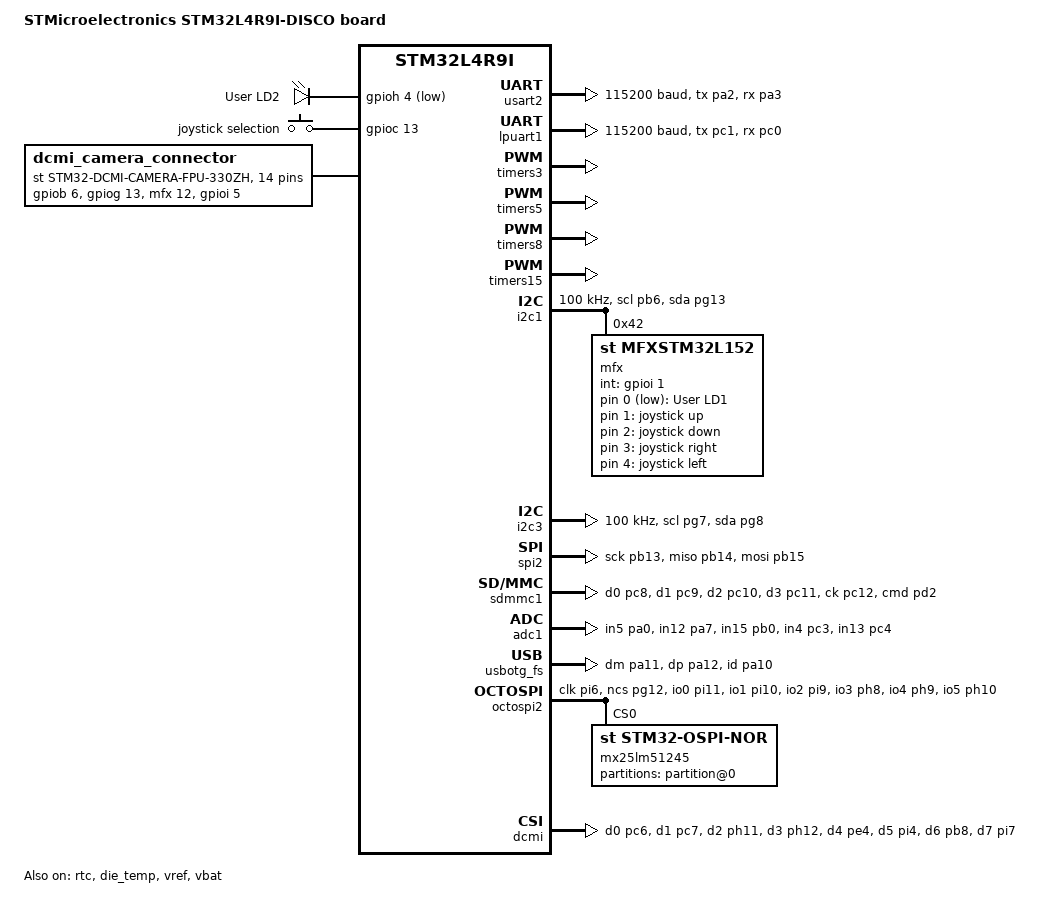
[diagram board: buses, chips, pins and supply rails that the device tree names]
/*
 * Copyright (c) 2023 STMicroelectronics
 *
 * SPDX-License-Identifier: Apache-2.0
 */
/dts-v1/;
#include <st/l4/stm32l4r9Xi.dtsi>
#include <st/l4/stm32l4r9a(g-i)ix-pinctrl.dtsi>
#include <zephyr/dt-bindings/input/input-event-codes.h>
#include "arduino_r3_connector.dtsi"

/ {
	model = "STMicroelectronics STM32L4R9I-DISCO board";
	compatible = "st,stm32l4r9i-disco";

	chosen {
		zephyr,console = &usart2;
		zephyr,shell-uart = &usart2;
		zephyr,sram = &sram0;
		zephyr,flash = &flash0;
	};

	leds {
		compatible = "gpio-leds";

		orange_led: led_1 {
			gpios = <&mfx 0 GPIO_ACTIVE_LOW>;
			label = "User LD1";
		};

		green_led: led_2 {
			gpios = <&gpioh 4 GPIO_ACTIVE_LOW>;
			label = "User LD2";
		};
	};

	gpio_keys {
		compatible = "gpio-keys";

		joy_sel: joystick_selection {
			label = "joystick selection";
			gpios = <&gpioc 13 (GPIO_ACTIVE_HIGH | GPIO_PULL_DOWN)>;
			zephyr,code = <INPUT_KEY_ENTER>;
		};

		joy_up: joystick_up {
			label = "joystick up";
			gpios = <&mfx 1 (GPIO_ACTIVE_HIGH | GPIO_PULL_UP)>;
			zephyr,code = <INPUT_KEY_UP>;
		};

		joy_down: joystick_down {
			label = "joystick down";
			gpios = <&mfx 2 (GPIO_ACTIVE_HIGH | GPIO_PULL_UP)>;
			zephyr,code = <INPUT_KEY_DOWN>;
		};

		joy_right: joystick_right {
			label = "joystick right";
			gpios = <&mfx 3 (GPIO_ACTIVE_HIGH | GPIO_PULL_UP)>;
			zephyr,code = <INPUT_KEY_RIGHT>;
		};

		joy_left: joystick_left {
			label = "joystick left";
			gpios = <&mfx 4 (GPIO_ACTIVE_HIGH | GPIO_PULL_UP)>;
			zephyr,code = <INPUT_KEY_LEFT>;
		};
	};

	dcmi_camera_connector: connector_dcmi_camera {
		compatible = "st,stm32-dcmi-camera-fpu-330zh";
		#gpio-cells = <2>;
		gpio-map-mask = <0xffffffff 0xffffffc0>;
		gpio-map-pass-thru = <0 0x3f>;
		gpio-map = <3  0 &gpiob 6  0>,  /* I2C1_SCL */
			   <4  0 &gpiog 13  0>,  /* I2C1_SDA */
			   /* RESET is directly connected to MCU reset */
			   <6  0 &mfx  12  0>,  /* PWDN_EN */
			   <12 0 &gpioi  5  0>,  /* DCMI_VSYNC */
			   <14 0 &gpioa  4  0>,  /* DCMI_HSYNC */
			   <16 0 &gpioa  8  0>,  /* DCMI_PIXCK */
			   <20 0 &gpioi  7  0>,  /* DCMI_D7 */
			   <21 0 &gpiob  8  0>,  /* DCMI_D6 */
			   <22 0 &gpioi  4  0>,  /* DCMI_D5 */
			   <23 0 &gpioe  4  0>,  /* DCMI_D4 */
			   <24 0 &gpioh 12  0>,  /* DCMI_D3 */
			   <25 0 &gpioh 11  0>,  /* DCMI_D2 */
			   <26 0 &gpioc  7  0>,  /* DCMI_D1 */
			   <27 0 &gpioc  6  0>;  /* DCMI_D0 */
	};

	aliases {
		led0 = &green_led;
		led1 = &orange_led;
		sw0 = &joy_sel;
		sw1 = &joy_up;
		sw2 = &joy_down;
		sw3 = &joy_right;
		sw4 = &joy_left;
		die-temp0 = &die_temp;
		volt-sensor0 = &vref;
		volt-sensor1 = &vbat;
	};
};

&clk_lse {
	status = "okay";
};

&clk_lsi {
	status = "okay";
};

&clk_hsi48 {
	status = "okay";
};

&clk_hsi {
	status = "okay";
};

&clk_msi {
	status = "okay";
	msi-range = <6>;
	msi-pll-mode;
};

&pll {
	status = "okay";
	div-m = <1>;
	mul-n = <60>;
	/*
	 * WORKAROUND: stm32l4-pll-clock does not allow arbitrary PLLP dividers.
	 * Disable PLLP completely since it only feeds SAI, which is not active either.
	 */
	/* div-p = <5>; */
	div-q = <2>;
	div-r = <2>;
	clocks = <&clk_msi>;
};

&rcc {
	clocks = <&pll>;
	ahb-prescaler = <1>;
	clock-frequency = <DT_FREQ_M(120)>;
	apb1-prescaler = <1>;
	apb2-prescaler = <1>;
};

&usart2 {
	status = "okay";
	pinctrl-0 = <&usart2_tx_pa2 &usart2_rx_pa3>;
	pinctrl-names = "default";
	current-speed = <115200>;
};

&lpuart1 {
	status = "okay";
	pinctrl-0 = <&lpuart1_tx_pc1 &lpuart1_rx_pc0>;
	pinctrl-names = "default";
	current-speed = <115200>;
};

&timers3 {
	status = "okay";

	pwm3: pwm {
		status = "okay";
		/*
		 * N.B.: Datasheet indicates that ARD_D11 (wired to PB15) is connected to TIM3_CH2.
		 * However, this is incorrect as PB15 cannot be muxed to TIM3 (see DS12023).
		 * Moved ARD_D11 to TIM15_CH2 instead.
		 */
		pinctrl-0 = <&tim3_ch1_pb4>;
		pinctrl-names = "default";
	};
};

&timers5 {
	status = "okay";

	pwm5: pwm {
		status = "okay";
		pinctrl-0 = <&tim5_ch2_pa1 &tim5_ch4_pi0>;
		pinctrl-names = "default";
	};
};

&timers8 {
	status = "okay";

	pwm8: pwm {
		status = "okay";
		pinctrl-0 = <&tim8_ch1n_ph13>;
		pinctrl-names = "default";
	};
};

&timers15 {
	status = "okay";

	pwm15: pwm {
		status = "okay";
		pinctrl-0 = <&tim15_ch2_pf10 &tim15_ch2_pb15>;
		pinctrl-names = "default";
	};
};

st_cam_i2c: &i2c1 {
	status = "okay";
	pinctrl-0 = <&i2c1_scl_pb6 &i2c1_sda_pg13>;
	pinctrl-names = "default";
	clock-frequency = <I2C_BITRATE_STANDARD>;

	mfx: gpio@42 {
		compatible = "st,mfxstm32l152";
		reg = <0x42>;
		ngpios = <24>;
		int-gpios = <&gpioi 1 (GPIO_ACTIVE_HIGH | GPIO_PULL_DOWN)>;
		gpio-controller;
		#gpio-cells = <2>;
	};
};

&i2c3 {
	status = "okay";
	pinctrl-0 = <&i2c3_scl_pg7 &i2c3_sda_pg8>;
	pinctrl-names = "default";
	clock-frequency = <I2C_BITRATE_STANDARD>;
};

&spi2 {
	status = "okay";
	pinctrl-0 = <&spi2_sck_pb13 &spi2_miso_pb14 &spi2_mosi_pb15>;
	pinctrl-names = "default";
	cs-gpios = <&gpioi 0 (GPIO_ACTIVE_LOW | GPIO_PULL_UP)>;
};

&rtc {
	clocks = <&rcc STM32_CLOCK(APB1, 28)>,
				<&rcc STM32_SRC_LSE RTC_SEL(1)>;
	status = "okay";
};

&sdmmc1 {
	status = "okay";
	pinctrl-0 = <&sdmmc1_d0_pc8 &sdmmc1_d1_pc9
		&sdmmc1_d2_pc10 &sdmmc1_d3_pc11
		&sdmmc1_ck_pc12 &sdmmc1_cmd_pd2>;
	pinctrl-names = "default";
	disk-name = "SD";
};

&adc1 {
	status = "okay";
	pinctrl-0 = <&adc1_in5_pa0 &adc1_in12_pa7 &adc1_in15_pb0
			&adc1_in4_pc3 &adc1_in13_pc4>;
	pinctrl-names = "default";
	st,adc-clock-source = "SYNC";
	st,adc-prescaler = <1>;
};

zephyr_udc0: &usbotg_fs {
	status = "okay";
	pinctrl-0 = <&usb_otg_fs_dm_pa11 &usb_otg_fs_dp_pa12
			&usb_otg_fs_id_pa10>;
	pinctrl-names = "default";
};

&die_temp {
	status = "okay";
};

&vref {
	status = "okay";
};

&vbat {
	status = "okay";
};

&octospi2 {
	status = "okay";
	pinctrl-0 = <&octospim_p2_clk_pi6 &octospim_p2_ncs_pg12
			&octospim_p2_io0_pi11 &octospim_p2_io1_pi10
			&octospim_p2_io2_pi9 &octospim_p2_io3_ph8
			&octospim_p2_io4_ph9 &octospim_p2_io5_ph10
			&octospim_p2_io6_pg9 &octospim_p2_io7_pg10
			&octospim_p2_dqs_pg15>;
	pinctrl-names = "default";

	mx25lm51245: ospi-nor-flash@0 {
		status = "okay";
		compatible = "st,stm32-ospi-nor";
		reg = <0>;
		size = <DT_SIZE_M(512)>; /* 512 Megabits */
		ospi-max-frequency = <DT_FREQ_M(25)>;
		spi-bus-width = <OSPI_OPI_MODE>;
		data-rate = <OSPI_STR_TRANSFER>;
		four-byte-opcodes;
		sfdp-bfp = [
			53 46 44 50 06 01 02 ff
			00 06 01 10 30 00 00 ff
			c2 00 01 04 10 01 00 ff
			84 00 01 02 c0 00 00 ff
			00 00 00 00 00 00 00 00
			00 00 00 00 00 00 00 00
			e5 20 fb ff ff ff ff 1f
			44 eb 08 6b 08 3b 04 bb
			fe ff ff ff ff ff 00 ff
			ff ff 44 eb 0c 20 0f 52
			10 d8 00 ff d6 49 c5 00
			81 df 04 e3 44 03 67 38
			30 b0 30 b0 f7 bd d5 5c
			4a 9e 29 ff f0 50 f9 85
			00 00 00 00 00 00 00 00
			00 00 00 00 00 00 00 00
			00 00 00 00 00 00 00 00
			00 00 00 00 00 00 00 00
			00 00 00 00 00 00 00 00
			00 00 00 00 00 00 00 00
			00 00 00 00 00 00 00 00
			00 00 00 00 00 00 00 00
			00 00 00 00 00 00 00 00
			00 00 00 00 00 00 00 00
			7f ef ff ff 21 5c dc ff
		];

		partitions {
			compatible = "fixed-partitions";
			#address-cells = <1>;
			#size-cells = <1>;

			partition@0 {
				reg = <0x00000000 DT_SIZE_M(64)>;
			};
		};
	};
};

/* alias used by camera shields */
st_cam_dvp: &dcmi {
	pinctrl-0 = <&dcmi_d0_pc6 &dcmi_d1_pc7 &dcmi_d2_ph11 &dcmi_d3_ph12
		     &dcmi_d4_pe4 &dcmi_d5_pi4 &dcmi_d6_pb8 &dcmi_d7_pi7
		     &dcmi_pixclk_ph5 &dcmi_hsync_pa4 &dcmi_vsync_pi5>;

	pinctrl-names = "default";
};
